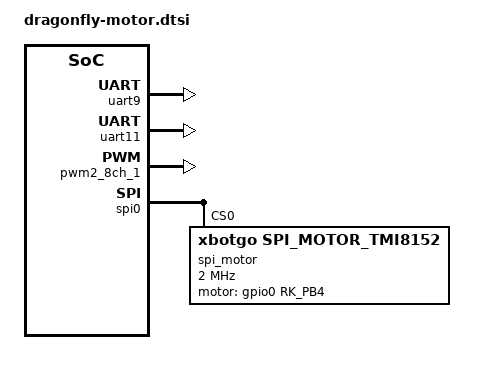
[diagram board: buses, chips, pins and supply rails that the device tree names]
// SPDX-License-Identifier: (GPL-2.0+ OR MIT)
/*
 * Copyright (c) 2024 Luckfox Technology Co., Ltd.
 *
 */

&uart9 {
	status = "okay";
	pinctrl-names = "default", "uart";
	pinctrl-0 = <&uart9_gpio>;
	pinctrl-1 = <&uart9m0_xfer>;
};

&uart11 {
	status = "okay";
	pinctrl-names = "default";
	pinctrl-0 = <&uart11m1_xfer>;
};

&pwm2_8ch_1 {
	status = "okay";
    pinctrl-0 = <&pwm2m2_ch1>;
};

&spi0{
        spi-max-frequency = <50000000>;
        pinctrl-names = "default";
        pinctrl-0 = <&spi0m0_pins &spi0m0_csn0>;
        status = "okay";

        spi_motor@0{
                compatible = "xbotgo,spi_motor_tmi8152";
                reg = <0>;
                spi-max-frequency = <2000000>;
		motor-gpios = <&gpio0 RK_PB4 GPIO_ACTIVE_HIGH>;
                status = "okay";
        };
};
